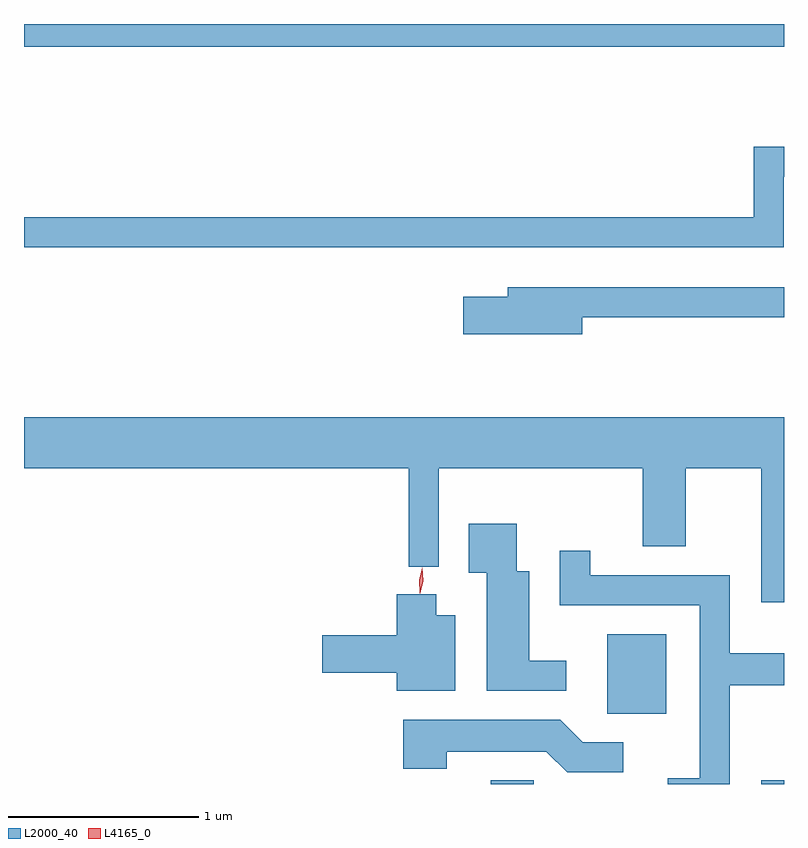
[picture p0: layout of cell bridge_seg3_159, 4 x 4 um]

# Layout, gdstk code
import gdstk
lib = gdstk.Library(unit=1e-6, precision=1e-09)
def R(c, l, rs):  # rectangles x0, y0, x1, y1
    for r in rs: c.add(gdstk.rectangle(r[:2], r[2:], *l))
def P(c, l, *ps):  # polygons
    for p in ps: c.add(gdstk.Polygon(p, *l))
L2000_40 = (2000, 40)
L4165_0 = (4165, 0)

bridge_seg3_159 = lib.new_cell('bridge_seg3_159')
R(bridge_seg3_159, L2000_40, [(765.971,1219.815,766.199,1219.834), (767.396,1219.815,767.515,1219.834), (766.586,1220.186,766.894,1220.604), (763.515,1223.696,767.515,1223.815)])
P(bridge_seg3_159, L2000_40, [(767.514,1223.011),(767.515,1223.011),(767.515,1223.169),(767.356,1223.169),(767.356,1222.799),(763.515,1222.799),(763.515,1222.641),(767.514,1222.641)],
  [(766.454,1222.271),(767.515,1222.271),(767.515,1222.429),(766.061,1222.429),(766.061,1222.379),(765.826,1222.379),(765.826,1222.181),(766.454,1222.181)],
  [(763.515,1221.476),(765.541,1221.476),(765.541,1220.958),(765.699,1220.958),(765.699,1221.476),(766.771,1221.476),(766.771,1221.066),(766.999,1221.066),(766.999,1221.476),(767.396,1221.476),(767.396,1220.771),(767.515,1220.771),(767.515,1221.744),(763.515,1221.744)],
  [(766.368,1220.464),(766.174,1220.464),(766.174,1220.934),(766.109,1220.934),(766.109,1221.184),(765.856,1221.184),(765.856,1220.926),(765.951,1220.926),(765.951,1220.306),(766.368,1220.306)],
  [(767.229,1220.336),(767.515,1220.336),(767.515,1220.504),(767.229,1220.504),(767.229,1220.914),(766.494,1220.914),(766.494,1221.043),(766.336,1221.043),(766.336,1220.756),(767.071,1220.756),(767.071,1219.844),(766.903,1219.844),(766.903,1219.815),(767.229,1219.815)],
  [(765.784,1220.704),(765.684,1220.704),(765.684,1220.814),(765.476,1220.814),(765.476,1220.599),(765.086,1220.599),(765.086,1220.401),(765.476,1220.401),(765.476,1220.306),(765.784,1220.306)],
  [(766.668,1220.034),(766.457,1220.034),(766.337,1220.154),(765.511,1220.154),(765.511,1219.896),(765.739,1219.896),(765.739,1219.986),(766.264,1219.986),(766.374,1219.876),(766.668,1219.876)])
P(bridge_seg3_159, L4165_0, [(765.599,1220.82),(765.596,1220.887),(765.611,1220.952),(765.612,1220.952),(765.612,1220.952),(765.616,1220.885),(765.6,1220.82),(765.6,1220.82)])

lib.write_gds('bridge_seg3_159.gds')
